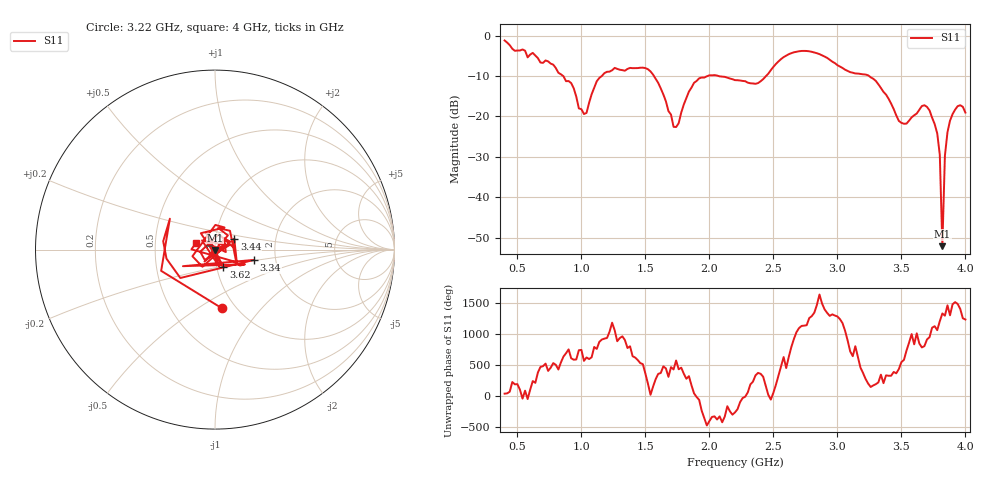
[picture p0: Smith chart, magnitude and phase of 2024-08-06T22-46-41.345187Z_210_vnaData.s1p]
!Created with skrf (http://scikit-rf.org).
# Hz S RI R 50.0
!freq ReS11 ImS11
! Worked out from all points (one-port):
!   181 points, 400 MHz to 4 GHz, reference 50 ohm
!   lowest |S11| = -52.1 dB at 3.82 GHz (marker M1), VSWR 1.00, Z = 49.9 - j0.242 ohm
!   |S11| at or under -10 dB: 1.566 GHz to 1.987 GHz (420.4 MHz wide, 23.7 % of centre); 2.07 GHz to 2.443 GHz (372.6 MHz wide, 16.5 % of centre); 3.247 GHz to end of sweep (the widest 3 of 4)
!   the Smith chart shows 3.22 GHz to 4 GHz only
!   S11 on the Smith chart (normalised r, x): 3.22 GHz: 0.86, -0.63; 3.34 GHz: 1.54, -0.19; 3.44 GHz: 1.23, +0.15; 3.62 GHz: 1.08, -0.21; 4 GHz: 0.81, +0.06
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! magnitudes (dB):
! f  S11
! 400 MHz  -1.2
! 860 MHz  -10.1
! 1.02 GHz  -19.4
! 1.14 GHz  -10.5
! 1.3 GHz  -8.5
! 1.54 GHz  -8.9
! 1.72 GHz  -22.6
! 1.76 GHz  -21.7
! 1.84 GHz  -13.9
! 1.92 GHz  -10.6
! 2.2 GHz  -11.0
! 2.38 GHz  -11.8
! 2.66 GHz  -4.1
! 3.1 GHz  -9.1
! 3.22 GHz  -9.6
! 3.34 GHz  -13.0
! 3.44 GHz  -18.2
! 3.5 GHz  -21.6
! 3.56 GHz  -21.0
! 3.62 GHz  -19.3
! 3.7 GHz  -17.6
! 3.78 GHz  -24.2
! 3.8 GHz  -29.5
! 3.82 GHz  -52.1
! 3.84 GHz  -29.7
! 3.86 GHz  -23.9
! 3.94 GHz  -17.5
! 4 GHz  -19.1
